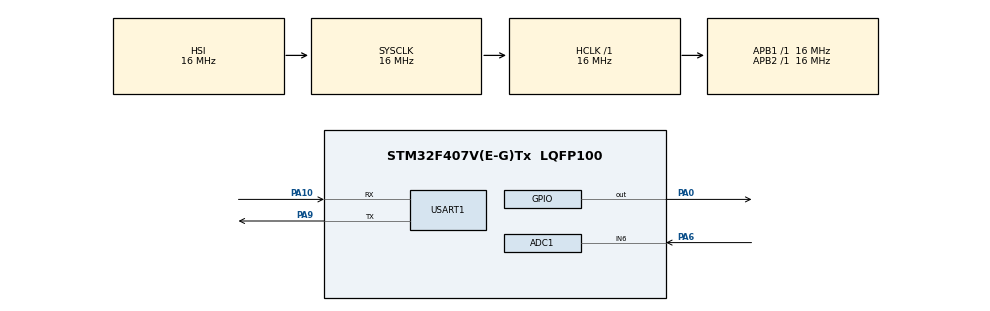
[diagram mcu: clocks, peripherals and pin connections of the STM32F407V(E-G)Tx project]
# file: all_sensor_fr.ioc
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ADC1.Channel-1\#ChannelRegularConversion=ADC_CHANNEL_6
ADC1.NbrOfConversion=1
ADC1.NbrOfConversionFlag=1
ADC1.Rank-1\#ChannelRegularConversion=1
ADC1.SamplingTime-1\#ChannelRegularConversion=ADC_SAMPLETIME_480CYCLES
ADC1.master=1
Mcu.Family=STM32F4
Mcu.Name=STM32F407V(E-G)Tx
Mcu.Package=LQFP100
NVIC.PriorityGroup=NVIC_PRIORITYGROUP_4
PA0-WKUP.Signal=GPIO_Output
PA10.Mode=Asynchronous
PA10.Signal=USART1_RX
PA13.Mode=Serial_Wire
PA13.Signal=SYS_JTMS-SWDIO
PA14.Mode=Serial_Wire
PA14.Signal=SYS_JTCK-SWCLK
PA6.Signal=ADCx_IN6
PA9.Mode=Asynchronous
PA9.Signal=USART1_TX
ProjectManager.HeapSize=0x200
ProjectManager.StackSize=0x400
ProjectManager.TargetToolchain=STM32CubeIDE
RCC.AHBFreq_Value=16000000
RCC.APB1Freq_Value=16000000
RCC.APB2Freq_Value=16000000
RCC.CortexFreq_Value=16000000
RCC.HSE_VALUE=25000000
RCC.HSI_VALUE=16000000
RCC.LSE_VALUE=32768
RCC.SYSCLKFreq_VALUE=16000000
RCC.VCOOutputFreq_Value=192000000
SH.ADCx_IN6.0=ADC1_IN6,IN6
USART1.VirtualMode=VM_ASYNC
board=custom

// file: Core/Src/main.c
/* USER CODE BEGIN Header */
/**
  ******************************************************************************
  * @file           : main.c
  * @brief          : Main program body
  ******************************************************************************
  * @attention
  *
  * Copyright (c) 2025 STMicroelectronics.
  * All rights reserved.
  *
  * This software is licensed under terms that can be found in the LICENSE file
  * in the root directory of this software component.
  * If no LICENSE file comes with this software, it is provided AS-IS.
  *
  ******************************************************************************
  */
/* USER CODE END Header */
#include "main.h"

/* USER CODE BEGIN Includes */
#include "Print_log.h"
#include "mq135.h"
#include "kalman_filter.h"
/* USER CODE END Includes */

ADC_HandleTypeDef hadc1;

UART_HandleTypeDef huart1;

void SystemClock_Config(void);
static void MX_GPIO_Init(void);
static void MX_ADC1_Init(void);
static void MX_USART1_UART_Init(void);
/* USER CODE BEGIN PFP */
KalmanFilter_t adc_filter;
KalmanFilter_t aqi_filter;
float filtered_adc ;
float filtered_aqi ;
float aqi;
uint32_t adc_raw;
/* USER CODE END PFP */

/* USER CODE BEGIN 0 */
void Read_ADC(void)
{
	HAL_ADC_Start(&hadc1);
	HAL_ADC_PollForConversion(&hadc1, HAL_MAX_DELAY);
	adc_value = HAL_ADC_GetValue(&hadc1);
	HAL_ADC_Stop(&hadc1);

}
/* USER CODE END 0 */

int main(void)
{

  /* MCU Configuration--------------------------------------------------------*/

  /* Reset of all peripherals, Initializes the Flash interface and the Systick. */
  HAL_Init();

  /* Configure the system clock */
  SystemClock_Config();

  /* Initialize all configured peripherals */
  MX_GPIO_Init();
  MX_ADC1_Init();
  MX_USART1_UART_Init();
  /* USER CODE BEGIN 2 */
  MQ135_Init(&hadc1);
  MQ135_CalculateR0();
  KalmanFilter_init(&adc_filter, 30.0, 30.0, 0.01);
  KalmanFilter_init(&aqi_filter, 30.0, 30.0, 0.01);
  /* USER CODE END 2 */

  /* Infinite loop */
  while (1)
  {
	  HAL_ADC_Start(&hadc1);
	  HAL_ADC_PollForConversion(&hadc1, HAL_MAX_DELAY);
	  adc_raw = HAL_ADC_GetValue(&hadc1);
	  filtered_adc = KF_updateEstimate(&adc_filter, (float) adc_raw);
	  adc_value = filtered_adc;
	  aqi = MQ135_ReadPPM(adc_value);
	  filtered_aqi = KF_updateEstimate(&aqi_filter, (float) aqi);
	  mPrint("adc_value = %d \n" , adc_value );
	  mPrint("R0 = %f \n" , R0 );
	  mPrint("aqi = %f \n" , aqi);
	  mPrint("aqi_f = %f \n" , filtered_aqi);
	  mPrint("ppm_co2 = %f \n" , ppm_co2);
	  mPrint("ppm_smoke = %f \n" , ppm_smoke);
	  mPrint("ppm_nox = %f \n" , ppm_nox);
	  mPrint("ppm_o3 = %f \n" , ppm_o3);

	  HAL_Delay(2500);
  }
}

void SystemClock_Config(void)
{
  RCC_OscInitTypeDef RCC_OscInitStruct = {0};
  RCC_ClkInitTypeDef RCC_ClkInitStruct = {0};

  /** Configure the main internal regulator output voltage
  */
  __HAL_RCC_PWR_CLK_ENABLE();
  __HAL_PWR_VOLTAGESCALING_CONFIG(PWR_REGULATOR_VOLTAGE_SCALE1);

  /** Initializes the RCC Oscillators according to the specified parameters
  * in the RCC_OscInitTypeDef structure.
  */
  RCC_OscInitStruct.OscillatorType = RCC_OSCILLATORTYPE_HSI;
  RCC_OscInitStruct.HSIState = RCC_HSI_ON;
  RCC_OscInitStruct.HSICalibrationValue = RCC_HSICALIBRATION_DEFAULT;
  RCC_OscInitStruct.PLL.PLLState = RCC_PLL_NONE;
  if (HAL_RCC_OscConfig(&RCC_OscInitStruct) != HAL_OK)
  {
    Error_Handler();
  }

  /** Initializes the CPU, AHB and APB buses clocks
  */
  RCC_ClkInitStruct.ClockType = RCC_CLOCKTYPE_HCLK|RCC_CLOCKTYPE_SYSCLK
                              |RCC_CLOCKTYPE_PCLK1|RCC_CLOCKTYPE_PCLK2;
  RCC_ClkInitStruct.SYSCLKSource = RCC_SYSCLKSOURCE_HSI;
  RCC_ClkInitStruct.AHBCLKDivider = RCC_SYSCLK_DIV1;
  RCC_ClkInitStruct.APB1CLKDivider = RCC_HCLK_DIV1;
  RCC_ClkInitStruct.APB2CLKDivider = RCC_HCLK_DIV1;

  if (HAL_RCC_ClockConfig(&RCC_ClkInitStruct, FLASH_LATENCY_0) != HAL_OK)
  {
    Error_Handler();
  }
}

static void MX_ADC1_Init(void)
{

  ADC_ChannelConfTypeDef sConfig = {0};

  /** Configure the global features of the ADC (Clock, Resolution, Data Alignment and number of conversion)
  */
  hadc1.Instance = ADC1;
  hadc1.Init.ClockPrescaler = ADC_CLOCK_SYNC_PCLK_DIV2;
  hadc1.Init.Resolution = ADC_RESOLUTION_12B;
  hadc1.Init.ScanConvMode = DISABLE;
  hadc1.Init.ContinuousConvMode = DISABLE;
  hadc1.Init.DiscontinuousConvMode = DISABLE;
  hadc1.Init.ExternalTrigConvEdge = ADC_EXTERNALTRIGCONVEDGE_NONE;
  hadc1.Init.ExternalTrigConv = ADC_SOFTWARE_START;
  hadc1.Init.DataAlign = ADC_DATAALIGN_RIGHT;
  hadc1.Init.NbrOfConversion = 1;
  hadc1.Init.DMAContinuousRequests = DISABLE;
  hadc1.Init.EOCSelection = ADC_EOC_SINGLE_CONV;
  if (HAL_ADC_Init(&hadc1) != HAL_OK)
  {
    Error_Handler();
  }

  /** Configure for the selected ADC regular channel its corresponding rank in the sequencer and its sample time.
  */
  sConfig.Channel = ADC_CHANNEL_6;
  sConfig.Rank = 1;
  sConfig.SamplingTime = ADC_SAMPLETIME_480CYCLES;
  if (HAL_ADC_ConfigChannel(&hadc1, &sConfig) != HAL_OK)
  {
    Error_Handler();
  }

}

static void MX_USART1_UART_Init(void)
{

  huart1.Instance = USART1;
  huart1.Init.BaudRate = 115200;
  huart1.Init.WordLength = UART_WORDLENGTH_8B;
  huart1.Init.StopBits = UART_STOPBITS_1;
  huart1.Init.Parity = UART_PARITY_NONE;
  huart1.Init.Mode = UART_MODE_TX_RX;
  huart1.Init.HwFlowCtl = UART_HWCONTROL_NONE;
  huart1.Init.OverSampling = UART_OVERSAMPLING_16;
  if (HAL_UART_Init(&huart1) != HAL_OK)
  {
    Error_Handler();
  }

}

static void MX_GPIO_Init(void)
{
  GPIO_InitTypeDef GPIO_InitStruct = {0};

  /* GPIO Ports Clock Enable */
  __HAL_RCC_GPIOA_CLK_ENABLE();

  /*Configure GPIO pin Output Level */
  HAL_GPIO_WritePin(GPIOA, GPIO_PIN_0, GPIO_PIN_RESET);

  /*Configure GPIO pin : PA0 */
  GPIO_InitStruct.Pin = GPIO_PIN_0;
  GPIO_InitStruct.Mode = GPIO_MODE_OUTPUT_PP;
  GPIO_InitStruct.Pull = GPIO_NOPULL;
  GPIO_InitStruct.Speed = GPIO_SPEED_FREQ_LOW;
  HAL_GPIO_Init(GPIOA, &GPIO_InitStruct);

}

void Error_Handler(void)
{
  __disable_irq();
  while (1)
  {
  }
}
